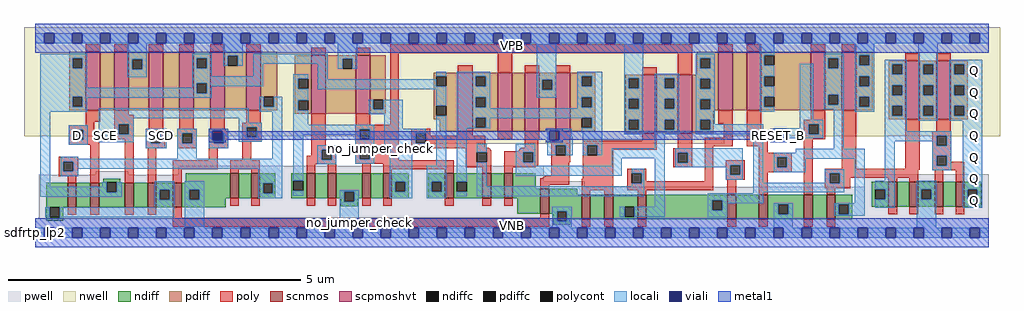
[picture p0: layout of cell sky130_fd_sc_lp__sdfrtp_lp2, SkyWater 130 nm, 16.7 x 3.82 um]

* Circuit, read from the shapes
.subckt sky130_fd_sc_lp__sdfrtp_lp2 CLK D RESET_B SCD SCE VGND VNB VPB VPWR Q
XM1 n1 n2 n3 VNB sky130_fd_pr__nfet_01v8 w=0.42 l=0.15
XM2 n4 D n1 VNB sky130_fd_pr__nfet_01v8 w=0.42 l=0.15
XM3 n5 SCE n4 VNB sky130_fd_pr__nfet_01v8 w=0.42 l=0.15
XM4 n3 SCD n5 VNB sky130_fd_pr__nfet_01v8 w=0.42 l=0.15
XM5 VGND RESET_B n3 VNB sky130_fd_pr__nfet_01v8 w=0.42 l=0.15
XM6 n6 SCE VGND VNB sky130_fd_pr__nfet_01v8 w=0.42 l=0.15
XM7 n2 SCE n6 VNB sky130_fd_pr__nfet_01v8 w=0.42 l=0.15
XM8 n7 CLK n8 VNB sky130_fd_pr__nfet_01v8 w=0.42 l=0.15
XM9 VGND CLK n7 VNB sky130_fd_pr__nfet_01v8 w=0.42 l=0.15
XM10 n9 n8 VGND VNB sky130_fd_pr__nfet_01v8 w=0.42 l=0.15
XM11 n10 n8 n9 VNB sky130_fd_pr__nfet_01v8 w=0.42 l=0.15
XM12 n11 n8 n4 VNB sky130_fd_pr__nfet_01v8 w=0.42 l=0.15
XM13 n12 n10 n11 VNB sky130_fd_pr__nfet_01v8 w=0.42 l=0.15
XM14 n13 n14 n12 VNB sky130_fd_pr__nfet_01v8 w=0.42 l=0.15
XM15 VGND RESET_B n13 VNB sky130_fd_pr__nfet_01v8 w=0.42 l=0.15
XM16 n15 n11 VGND VNB sky130_fd_pr__nfet_01v8 w=0.42 l=0.15
XM17 n14 n11 n15 VNB sky130_fd_pr__nfet_01v8 w=0.42 l=0.15
XM18 n16 n10 n14 VNB sky130_fd_pr__nfet_01v8 w=0.42 l=0.15
XM19 n17 n8 n16 VNB sky130_fd_pr__nfet_01v8 w=0.42 l=0.15
XM20 VGND n18 n17 VNB sky130_fd_pr__nfet_01v8 w=0.42 l=0.15
XM21 n19 RESET_B VGND VNB sky130_fd_pr__nfet_01v8 w=0.42 l=0.15
XM22 n18 n16 n19 VNB sky130_fd_pr__nfet_01v8 w=0.42 l=0.15
XM23 n20 n16 n21 VNB sky130_fd_pr__nfet_01v8 w=0.42 l=0.15
XM24 VGND n16 n20 VNB sky130_fd_pr__nfet_01v8 w=0.42 l=0.15
XM25 n22 n21 VGND VNB sky130_fd_pr__nfet_01v8 w=0.42 l=0.15
XM26 Q n21 n22 VNB sky130_fd_pr__nfet_01v8 w=0.42 l=0.15
XM27 n23 D n4 VPB sky130_fd_pr__pfet_01v8_hvt w=1 l=0.25
XM28 VPWR SCE n23 VPB sky130_fd_pr__pfet_01v8_hvt w=1 l=0.25
XM29 n24 SCD VPWR VPB sky130_fd_pr__pfet_01v8_hvt w=1 l=0.25
XM30 n4 n2 n24 VPB sky130_fd_pr__pfet_01v8_hvt w=1 l=0.25
XM31 VPWR RESET_B n4 VPB sky130_fd_pr__pfet_01v8_hvt w=1 l=0.25
XM32 n2 SCE VPWR VPB sky130_fd_pr__pfet_01v8_hvt w=1 l=0.25
XM33 VPWR CLK n8 VPB sky130_fd_pr__pfet_01v8_hvt w=1 l=0.25
XM34 n10 n8 VPWR VPB sky130_fd_pr__pfet_01v8_hvt w=1 l=0.25
XM35 n11 n10 n4 VPB sky130_fd_pr__pfet_01v8_hvt w=1 l=0.25
XM36 n25 n8 n11 VPB sky130_fd_pr__pfet_01v8_hvt w=1 l=0.25
XM37 VPWR n14 n25 VPB sky130_fd_pr__pfet_01v8_hvt w=1 l=0.25
XM38 n11 RESET_B VPWR VPB sky130_fd_pr__pfet_01v8_hvt w=1 l=0.25
XM39 n14 n11 VPWR VPB sky130_fd_pr__pfet_01v8_hvt w=1 l=0.25
XM40 n16 n8 n14 VPB sky130_fd_pr__pfet_01v8_hvt w=1 l=0.25
XM41 n26 n10 n16 VPB sky130_fd_pr__pfet_01v8_hvt w=1 l=0.25
XM42 VPWR n18 n26 VPB sky130_fd_pr__pfet_01v8_hvt w=1 l=0.25
XM43 n18 RESET_B VPWR VPB sky130_fd_pr__pfet_01v8_hvt w=1 l=0.25
XM44 VPWR n16 n18 VPB sky130_fd_pr__pfet_01v8_hvt w=1 l=0.25
XM45 VPWR n16 n21 VPB sky130_fd_pr__pfet_01v8_hvt w=1 l=0.25
XM46 Q n21 VPWR VPB sky130_fd_pr__pfet_01v8_hvt w=1 l=0.25
.ends

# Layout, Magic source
magic
tech sky130A
magscale 1 2
<< nwell >>
rect -38 331 3302 704
rect 1341 305 2358 331
<< pwell >>
rect 208 198 318 211
rect 490 198 1740 229
rect 12 176 1740 198
rect 12 157 1881 176
rect 2837 157 3263 200
rect 12 49 3263 157
rect 0 0 3264 49
<< scnmos >>
rect 111 88 141 172
rect 189 88 219 172
rect 307 88 337 172
rect 385 88 415 172
rect 471 88 501 172
rect 667 119 697 203
rect 739 119 769 203
rect 929 119 959 203
rect 1001 119 1031 203
rect 1119 119 1149 203
rect 1191 119 1221 203
rect 1402 119 1432 203
rect 1531 119 1561 203
rect 1605 119 1635 203
rect 1729 66 1759 150
rect 1870 47 1900 131
rect 1948 47 1978 131
rect 2062 47 2092 131
rect 2369 47 2399 131
rect 2477 47 2507 131
rect 2631 47 2661 131
rect 2709 47 2739 131
rect 2920 90 2950 174
rect 2992 90 3022 174
rect 3078 90 3108 174
rect 3150 90 3180 174
<< scpmoshvt >>
rect 173 419 223 619
rect 271 419 321 619
rect 389 419 439 619
rect 493 419 543 619
rect 599 419 649 619
rect 722 419 772 619
rect 945 408 995 608
rect 1097 408 1147 608
rect 1447 347 1497 547
rect 1583 347 1633 547
rect 1675 347 1725 547
rect 1781 347 1831 547
rect 2077 341 2127 541
rect 2199 341 2249 541
rect 2337 419 2387 619
rect 2435 419 2485 619
rect 2654 419 2704 619
rect 2760 419 2810 619
rect 2978 388 3028 588
rect 3084 388 3134 588
<< ndiff >>
rect 234 173 292 185
rect 234 172 246 173
rect 38 88 111 172
rect 141 88 189 172
rect 219 139 246 172
rect 280 172 292 173
rect 516 172 667 203
rect 280 139 307 172
rect 219 88 307 139
rect 337 88 385 172
rect 415 147 471 172
rect 415 113 426 147
rect 460 113 471 147
rect 415 88 471 113
rect 501 147 667 172
rect 501 113 528 147
rect 562 119 667 147
rect 697 119 739 203
rect 769 169 822 203
rect 769 135 780 169
rect 814 135 822 169
rect 769 119 822 135
rect 876 178 929 203
rect 876 144 884 178
rect 918 144 929 178
rect 876 119 929 144
rect 959 119 1001 203
rect 1031 141 1119 203
rect 1031 119 1058 141
rect 562 113 652 119
rect 501 88 652 113
rect 1046 107 1058 119
rect 1092 119 1119 141
rect 1149 119 1191 203
rect 1221 175 1278 203
rect 1221 141 1232 175
rect 1266 141 1278 175
rect 1221 119 1278 141
rect 1345 175 1402 203
rect 1345 141 1357 175
rect 1391 141 1402 175
rect 1345 119 1402 141
rect 1432 175 1531 203
rect 1432 141 1443 175
rect 1477 141 1531 175
rect 1432 119 1531 141
rect 1561 119 1605 203
rect 1635 150 1714 203
rect 1635 119 1729 150
rect 1092 107 1104 119
rect 1046 91 1104 107
rect 38 87 96 88
rect 38 53 50 87
rect 84 53 96 87
rect 38 41 96 53
rect 1650 66 1729 119
rect 1759 131 1855 150
rect 2863 149 2920 174
rect 1759 73 1870 131
rect 1759 66 1786 73
rect 1774 39 1786 66
rect 1820 47 1870 73
rect 1900 47 1948 131
rect 1978 89 2062 131
rect 1978 55 2017 89
rect 2051 55 2062 89
rect 1978 47 2062 55
rect 2092 111 2369 131
rect 2092 77 2318 111
rect 2352 77 2369 111
rect 2092 47 2369 77
rect 2399 47 2477 131
rect 2507 97 2631 131
rect 2507 63 2543 97
rect 2577 63 2631 97
rect 2507 47 2631 63
rect 2661 47 2709 131
rect 2739 97 2796 131
rect 2739 63 2750 97
rect 2784 63 2796 97
rect 2863 115 2875 149
rect 2909 115 2920 149
rect 2863 90 2920 115
rect 2950 90 2992 174
rect 3022 149 3078 174
rect 3022 115 3033 149
rect 3067 115 3078 149
rect 3022 90 3078 115
rect 3108 90 3150 174
rect 3180 149 3237 174
rect 3180 115 3191 149
rect 3225 115 3237 149
rect 3180 90 3237 115
rect 2739 47 2796 63
rect 1820 39 1832 47
rect 1774 27 1832 39
<< pdiff >>
rect 116 597 173 619
rect 116 563 128 597
rect 162 563 173 597
rect 116 465 173 563
rect 116 431 128 465
rect 162 431 173 465
rect 116 419 173 431
rect 223 419 271 619
rect 321 594 389 619
rect 321 560 332 594
rect 366 560 389 594
rect 321 419 389 560
rect 439 419 493 619
rect 543 597 599 619
rect 543 563 554 597
rect 588 563 599 597
rect 543 512 599 563
rect 543 478 554 512
rect 588 478 599 512
rect 543 419 599 478
rect 649 606 722 619
rect 649 572 660 606
rect 694 572 722 606
rect 649 419 722 572
rect 772 465 829 619
rect 772 431 783 465
rect 817 431 829 465
rect 772 419 829 431
rect 888 527 945 608
rect 888 493 900 527
rect 934 493 945 527
rect 888 454 945 493
rect 888 420 900 454
rect 934 420 945 454
rect 888 408 945 420
rect 995 596 1097 608
rect 995 562 1052 596
rect 1086 562 1097 596
rect 995 408 1097 562
rect 1147 456 1200 608
rect 1147 422 1158 456
rect 1192 422 1200 456
rect 1147 408 1200 422
rect 1365 535 1447 547
rect 1365 501 1373 535
rect 1407 501 1447 535
rect 1365 434 1447 501
rect 1365 400 1373 434
rect 1407 400 1447 434
rect 1365 388 1447 400
rect 1385 347 1447 388
rect 1497 535 1583 547
rect 1497 501 1508 535
rect 1542 501 1583 535
rect 1497 464 1583 501
rect 1497 430 1508 464
rect 1542 430 1583 464
rect 1497 393 1583 430
rect 1497 359 1508 393
rect 1542 359 1583 393
rect 1497 347 1583 359
rect 1633 347 1675 547
rect 1725 523 1781 547
rect 1725 489 1736 523
rect 1770 489 1781 523
rect 1725 347 1781 489
rect 1831 535 1917 547
rect 2264 597 2337 619
rect 2264 563 2276 597
rect 2310 563 2337 597
rect 2264 541 2337 563
rect 1831 501 1871 535
rect 1905 501 1917 535
rect 1831 464 1917 501
rect 1831 430 1871 464
rect 1905 430 1917 464
rect 1831 393 1917 430
rect 1831 359 1871 393
rect 1905 359 1917 393
rect 1831 347 1917 359
rect 2020 529 2077 541
rect 2020 495 2032 529
rect 2066 495 2077 529
rect 2020 458 2077 495
rect 2020 424 2032 458
rect 2066 424 2077 458
rect 2020 387 2077 424
rect 2020 353 2032 387
rect 2066 353 2077 387
rect 2020 341 2077 353
rect 2127 529 2199 541
rect 2127 495 2154 529
rect 2188 495 2199 529
rect 2127 458 2199 495
rect 2127 424 2154 458
rect 2188 424 2199 458
rect 2127 387 2199 424
rect 2127 353 2154 387
rect 2188 353 2199 387
rect 2127 341 2199 353
rect 2249 527 2337 541
rect 2249 493 2276 527
rect 2310 493 2337 527
rect 2249 457 2337 493
rect 2249 423 2276 457
rect 2310 423 2337 457
rect 2249 419 2337 423
rect 2387 419 2435 619
rect 2485 607 2654 619
rect 2485 573 2496 607
rect 2530 573 2654 607
rect 2485 536 2654 573
rect 2485 502 2496 536
rect 2530 502 2654 536
rect 2485 465 2654 502
rect 2485 431 2496 465
rect 2530 431 2654 465
rect 2485 419 2654 431
rect 2704 597 2760 619
rect 2704 563 2715 597
rect 2749 563 2760 597
rect 2704 473 2760 563
rect 2704 439 2715 473
rect 2749 439 2760 473
rect 2704 419 2760 439
rect 2810 607 2867 619
rect 2810 573 2821 607
rect 2855 573 2867 607
rect 2810 536 2867 573
rect 2810 502 2821 536
rect 2855 502 2867 536
rect 2810 465 2867 502
rect 2810 431 2821 465
rect 2855 431 2867 465
rect 2810 419 2867 431
rect 2921 576 2978 588
rect 2921 542 2933 576
rect 2967 542 2978 576
rect 2921 505 2978 542
rect 2921 471 2933 505
rect 2967 471 2978 505
rect 2921 434 2978 471
rect 2249 387 2322 419
rect 2249 353 2276 387
rect 2310 353 2322 387
rect 2249 341 2322 353
rect 2921 400 2933 434
rect 2967 400 2978 434
rect 2921 388 2978 400
rect 3028 576 3084 588
rect 3028 542 3039 576
rect 3073 542 3084 576
rect 3028 505 3084 542
rect 3028 471 3039 505
rect 3073 471 3084 505
rect 3028 434 3084 471
rect 3028 400 3039 434
rect 3073 400 3084 434
rect 3028 388 3084 400
rect 3134 576 3191 588
rect 3134 542 3145 576
rect 3179 542 3191 576
rect 3134 505 3191 542
rect 3134 471 3145 505
rect 3179 471 3191 505
rect 3134 434 3191 471
rect 3134 400 3145 434
rect 3179 400 3191 434
rect 3134 388 3191 400
<< ndiffc >>
rect 246 139 280 173
rect 426 113 460 147
rect 528 113 562 147
rect 780 135 814 169
rect 884 144 918 178
rect 1058 107 1092 141
rect 1232 141 1266 175
rect 1357 141 1391 175
rect 1443 141 1477 175
rect 50 53 84 87
rect 1786 39 1820 73
rect 2017 55 2051 89
rect 2318 77 2352 111
rect 2543 63 2577 97
rect 2750 63 2784 97
rect 2875 115 2909 149
rect 3033 115 3067 149
rect 3191 115 3225 149
<< pdiffc >>
rect 128 563 162 597
rect 128 431 162 465
rect 332 560 366 594
rect 554 563 588 597
rect 554 478 588 512
rect 660 572 694 606
rect 783 431 817 465
rect 900 493 934 527
rect 900 420 934 454
rect 1052 562 1086 596
rect 1158 422 1192 456
rect 1373 501 1407 535
rect 1373 400 1407 434
rect 1508 501 1542 535
rect 1508 430 1542 464
rect 1508 359 1542 393
rect 1736 489 1770 523
rect 2276 563 2310 597
rect 1871 501 1905 535
rect 1871 430 1905 464
rect 1871 359 1905 393
rect 2032 495 2066 529
rect 2032 424 2066 458
rect 2032 353 2066 387
rect 2154 495 2188 529
rect 2154 424 2188 458
rect 2154 353 2188 387
rect 2276 493 2310 527
rect 2276 423 2310 457
rect 2496 573 2530 607
rect 2496 502 2530 536
rect 2496 431 2530 465
rect 2715 563 2749 597
rect 2715 439 2749 473
rect 2821 573 2855 607
rect 2821 502 2855 536
rect 2821 431 2855 465
rect 2933 542 2967 576
rect 2933 471 2967 505
rect 2276 353 2310 387
rect 2933 400 2967 434
rect 3039 542 3073 576
rect 3039 471 3073 505
rect 3039 400 3073 434
rect 3145 542 3179 576
rect 3145 471 3179 505
rect 3145 400 3179 434
<< poly >>
rect 173 619 223 645
rect 271 619 321 645
rect 389 619 439 645
rect 493 619 543 645
rect 599 619 649 645
rect 722 619 772 645
rect 945 608 995 634
rect 1097 608 1147 634
rect 1215 615 2249 645
rect 2337 619 2387 645
rect 2435 619 2485 645
rect 2654 619 2704 645
rect 2760 619 2810 645
rect 173 380 223 419
rect 271 404 321 419
rect 173 368 203 380
rect 115 352 203 368
rect 115 318 131 352
rect 165 332 203 352
rect 271 371 337 404
rect 271 337 287 371
rect 321 337 337 371
rect 389 356 439 419
rect 493 356 543 419
rect 599 356 649 419
rect 722 377 772 419
rect 709 361 775 377
rect 165 318 219 332
rect 271 321 337 337
rect 115 302 219 318
rect 81 244 147 260
rect 81 210 97 244
rect 131 210 147 244
rect 81 194 147 210
rect 111 172 141 194
rect 189 172 219 302
rect 307 172 337 321
rect 379 340 445 356
rect 379 306 395 340
rect 429 306 445 340
rect 379 290 445 306
rect 487 340 553 356
rect 487 306 503 340
rect 537 306 553 340
rect 487 290 553 306
rect 595 340 661 356
rect 595 306 611 340
rect 645 306 661 340
rect 595 290 661 306
rect 709 327 725 361
rect 759 327 775 361
rect 709 311 775 327
rect 385 172 415 290
rect 595 248 625 290
rect 709 248 739 311
rect 945 300 995 408
rect 1097 370 1147 408
rect 1215 370 1245 615
rect 1447 547 1497 573
rect 1583 547 1633 615
rect 1675 547 1725 573
rect 1781 547 1831 573
rect 1095 354 1245 370
rect 1095 320 1111 354
rect 1145 320 1245 354
rect 945 284 1031 300
rect 945 264 981 284
rect 929 250 981 264
rect 1015 250 1031 284
rect 471 218 625 248
rect 667 218 769 248
rect 471 172 501 218
rect 667 203 697 218
rect 739 203 769 218
rect 929 234 1031 250
rect 1095 286 1245 320
rect 1287 340 1353 356
rect 2077 541 2127 567
rect 2199 541 2249 615
rect 1287 306 1303 340
rect 1337 332 1353 340
rect 1447 332 1497 347
rect 1337 306 1541 332
rect 1583 321 1633 347
rect 1675 321 1725 347
rect 1287 291 1541 306
rect 1675 291 1721 321
rect 1781 315 1831 347
rect 2978 588 3028 614
rect 3084 588 3134 614
rect 2337 374 2387 419
rect 2077 315 2127 341
rect 1770 311 1832 315
rect 1287 290 1553 291
rect 1095 252 1111 286
rect 1145 252 1245 286
rect 1095 248 1245 252
rect 1474 289 1553 290
rect 1663 289 1721 291
rect 1474 288 1555 289
rect 1661 288 1721 289
rect 1474 287 1556 288
rect 1660 287 1721 288
rect 1474 286 1557 287
rect 1659 286 1721 287
rect 1474 285 1558 286
rect 1658 285 1721 286
rect 1474 283 1559 285
rect 1657 283 1721 285
rect 1474 275 1561 283
rect 1655 279 1721 283
rect 1095 236 1432 248
rect 929 203 959 234
rect 1001 203 1031 234
rect 1119 203 1149 236
rect 1191 218 1432 236
rect 1474 241 1511 275
rect 1545 241 1561 275
rect 1474 225 1561 241
rect 1191 203 1221 218
rect 1402 203 1432 218
rect 1531 203 1561 225
rect 1605 275 1721 279
rect 1605 241 1671 275
rect 1705 241 1721 275
rect 1605 229 1721 241
rect 1766 299 1832 311
rect 1766 265 1782 299
rect 1816 265 1832 299
rect 1766 241 1832 265
rect 1874 299 2127 315
rect 1874 265 1890 299
rect 1924 285 2127 299
rect 2199 290 2249 341
rect 2357 326 2387 374
rect 1924 265 1978 285
rect 1605 227 1716 229
rect 1605 226 1713 227
rect 1605 225 1711 226
rect 1605 203 1635 225
rect 667 93 697 119
rect 739 93 769 119
rect 929 93 959 119
rect 1001 93 1031 119
rect 1766 195 1828 241
rect 1748 193 1828 195
rect 1744 191 1828 193
rect 1741 189 1828 191
rect 1737 187 1828 189
rect 1729 165 1828 187
rect 1874 185 1978 265
rect 2183 274 2249 290
rect 2183 240 2199 274
rect 2233 240 2249 274
rect 2183 224 2249 240
rect 2291 296 2387 326
rect 2435 326 2485 419
rect 2654 387 2704 419
rect 2631 371 2704 387
rect 2631 337 2647 371
rect 2681 337 2704 371
rect 2435 296 2507 326
rect 1729 150 1759 165
rect 1119 93 1149 119
rect 1191 93 1221 119
rect 1402 93 1432 119
rect 1531 93 1561 119
rect 1605 93 1635 119
rect 111 62 141 88
rect 189 62 219 88
rect 307 62 337 88
rect 385 62 415 88
rect 471 51 501 88
rect 1870 146 1978 185
rect 2026 203 2092 219
rect 2026 169 2042 203
rect 2076 176 2092 203
rect 2291 176 2321 296
rect 2477 274 2507 296
rect 2631 321 2704 337
rect 2477 258 2589 274
rect 2363 232 2429 248
rect 2363 198 2379 232
rect 2413 198 2429 232
rect 2363 182 2429 198
rect 2477 224 2539 258
rect 2573 224 2589 258
rect 2477 208 2589 224
rect 2076 169 2321 176
rect 2026 146 2321 169
rect 1870 131 1900 146
rect 1948 131 1978 146
rect 2062 131 2092 146
rect 2369 131 2399 182
rect 2477 131 2507 208
rect 2631 131 2661 321
rect 2760 219 2810 419
rect 2978 219 3028 388
rect 3084 348 3134 388
rect 2703 216 3028 219
rect 3070 332 3136 348
rect 3070 298 3086 332
rect 3120 298 3136 332
rect 3070 264 3136 298
rect 3070 230 3086 264
rect 3120 244 3136 264
rect 3120 230 3180 244
rect 2703 203 3022 216
rect 3070 214 3180 230
rect 2703 169 2719 203
rect 2753 189 3022 203
rect 2753 169 2790 189
rect 2920 174 2950 189
rect 2992 174 3022 189
rect 3078 174 3108 214
rect 3150 174 3180 214
rect 2703 153 2790 169
rect 2709 131 2739 153
rect 1729 51 1759 66
rect 471 21 1759 51
rect 2920 64 2950 90
rect 2992 64 3022 90
rect 3078 64 3108 90
rect 3150 64 3180 90
rect 1870 21 1900 47
rect 1948 21 1978 47
rect 2062 21 2092 47
rect 2369 21 2399 47
rect 2477 21 2507 47
rect 2631 21 2661 47
rect 2709 21 2739 47
<< polycont >>
rect 131 318 165 352
rect 287 337 321 371
rect 97 210 131 244
rect 395 306 429 340
rect 503 306 537 340
rect 611 306 645 340
rect 725 327 759 361
rect 1111 320 1145 354
rect 981 250 1015 284
rect 1303 306 1337 340
rect 1111 252 1145 286
rect 1511 241 1545 275
rect 1671 241 1705 275
rect 1782 265 1816 299
rect 1890 265 1924 299
rect 2199 240 2233 274
rect 2647 337 2681 371
rect 2042 169 2076 203
rect 2379 198 2413 232
rect 2539 224 2573 258
rect 3086 298 3120 332
rect 3086 230 3120 264
rect 2719 169 2753 203
<< locali >>
rect 0 649 31 683
rect 65 649 127 683
rect 161 649 223 683
rect 257 649 319 683
rect 353 649 415 683
rect 449 649 511 683
rect 545 649 607 683
rect 641 649 703 683
rect 737 649 799 683
rect 833 649 895 683
rect 929 649 991 683
rect 1025 649 1087 683
rect 1121 649 1183 683
rect 1217 649 1279 683
rect 1313 649 1375 683
rect 1409 649 1471 683
rect 1505 649 1567 683
rect 1601 649 1663 683
rect 1697 649 1759 683
rect 1793 649 1855 683
rect 1889 649 1951 683
rect 1985 649 2047 683
rect 2081 649 2143 683
rect 2177 649 2239 683
rect 2273 649 2335 683
rect 2369 649 2431 683
rect 2465 649 2527 683
rect 2561 649 2623 683
rect 2657 649 2719 683
rect 2753 649 2815 683
rect 2849 649 2911 683
rect 2945 649 3007 683
rect 3041 649 3103 683
rect 3137 649 3199 683
rect 3233 649 3264 683
rect 18 597 178 613
rect 18 563 128 597
rect 162 563 178 597
rect 18 496 178 563
rect 316 594 382 649
rect 316 560 332 594
rect 366 560 382 594
rect 316 532 382 560
rect 538 597 604 613
rect 538 563 554 597
rect 588 563 604 597
rect 644 606 710 649
rect 644 572 660 606
rect 694 572 710 606
rect 644 571 710 572
rect 746 579 1002 613
rect 538 535 604 563
rect 746 535 780 579
rect 538 512 780 535
rect 538 496 554 512
rect 18 478 554 496
rect 588 501 780 512
rect 884 527 934 543
rect 588 478 604 501
rect 18 465 604 478
rect 884 493 900 527
rect 18 431 128 465
rect 162 462 604 465
rect 162 431 178 462
rect 18 415 178 431
rect 767 431 783 465
rect 817 431 845 465
rect 18 158 52 415
rect 217 392 731 426
rect 767 415 845 431
rect 217 371 337 392
rect 115 352 181 368
rect 115 318 131 352
rect 165 318 181 352
rect 115 302 181 318
rect 217 337 287 371
rect 321 337 337 371
rect 697 377 731 392
rect 697 361 775 377
rect 217 310 337 337
rect 379 340 451 356
rect 379 306 395 340
rect 429 306 451 340
rect 379 290 451 306
rect 487 340 553 356
rect 487 306 503 340
rect 537 306 553 340
rect 88 254 147 260
rect 487 254 553 306
rect 595 350 661 356
rect 595 316 607 350
rect 641 340 661 350
rect 595 306 611 316
rect 645 306 661 340
rect 697 327 725 361
rect 759 327 775 361
rect 697 311 775 327
rect 595 290 661 306
rect 811 254 845 415
rect 88 244 845 254
rect 88 210 97 244
rect 131 220 845 244
rect 131 210 147 220
rect 88 194 147 210
rect 230 158 246 173
rect 18 139 246 158
rect 280 139 296 173
rect 18 124 296 139
rect 230 123 296 124
rect 410 147 476 176
rect 410 113 426 147
rect 460 113 476 147
rect 34 87 100 88
rect 410 87 476 113
rect 34 53 50 87
rect 84 53 476 87
rect 512 147 578 176
rect 512 113 528 147
rect 562 113 578 147
rect 764 169 845 220
rect 764 135 780 169
rect 814 135 845 169
rect 764 119 845 135
rect 884 454 934 493
rect 968 526 1002 579
rect 1036 596 1102 649
rect 1036 562 1052 596
rect 1086 562 1102 596
rect 1373 535 1407 551
rect 968 501 1373 526
rect 968 492 1407 501
rect 884 420 900 454
rect 884 370 934 420
rect 1142 422 1158 456
rect 1192 422 1258 456
rect 1142 406 1258 422
rect 884 354 1161 370
rect 884 336 1111 354
rect 884 178 918 336
rect 1095 320 1111 336
rect 1145 320 1161 354
rect 965 284 1031 300
rect 965 250 981 284
rect 1015 250 1031 284
rect 965 234 1031 250
rect 1095 286 1161 320
rect 1195 356 1258 406
rect 1373 434 1407 492
rect 1195 340 1337 356
rect 1195 306 1303 340
rect 1195 290 1337 306
rect 1095 252 1111 286
rect 1145 252 1161 286
rect 1095 236 1161 252
rect 1214 175 1291 290
rect 1373 229 1407 400
rect 884 127 918 144
rect 1042 141 1108 145
rect 512 17 578 113
rect 1042 107 1058 141
rect 1092 107 1108 141
rect 1214 141 1232 175
rect 1266 141 1291 175
rect 1214 119 1291 141
rect 1341 175 1407 229
rect 1341 141 1357 175
rect 1391 141 1407 175
rect 1341 119 1407 141
rect 1443 535 1558 551
rect 1443 501 1508 535
rect 1542 501 1558 535
rect 1443 464 1558 501
rect 1443 430 1508 464
rect 1542 430 1558 464
rect 1717 523 1783 649
rect 1717 489 1736 523
rect 1770 489 1783 523
rect 1717 462 1783 489
rect 1855 535 1940 551
rect 1855 501 1871 535
rect 1905 501 1940 535
rect 1855 464 1940 501
rect 1443 426 1558 430
rect 1855 430 1871 464
rect 1905 430 1940 464
rect 1855 426 1940 430
rect 1443 393 1940 426
rect 1443 359 1508 393
rect 1542 392 1871 393
rect 1542 359 1558 392
rect 1443 358 1558 359
rect 1905 359 1940 393
rect 1443 175 1477 358
rect 1753 350 1837 356
rect 1753 316 1759 350
rect 1793 329 1837 350
rect 1871 343 1940 359
rect 1793 316 1840 329
rect 1443 125 1477 141
rect 1511 275 1545 305
rect 1511 159 1545 241
rect 1645 275 1711 305
rect 1645 241 1671 275
rect 1705 241 1711 275
rect 1753 299 1840 316
rect 1753 265 1782 299
rect 1816 265 1840 299
rect 1874 299 1940 343
rect 2016 529 2082 649
rect 2260 597 2326 613
rect 2260 563 2276 597
rect 2310 563 2326 597
rect 2016 495 2032 529
rect 2066 495 2082 529
rect 2016 458 2082 495
rect 2016 424 2032 458
rect 2066 424 2082 458
rect 2016 387 2082 424
rect 2016 353 2032 387
rect 2066 353 2082 387
rect 2016 337 2082 353
rect 2121 529 2204 545
rect 2121 495 2154 529
rect 2188 495 2204 529
rect 2121 458 2204 495
rect 2121 424 2154 458
rect 2188 424 2204 458
rect 2121 387 2204 424
rect 2121 353 2154 387
rect 2188 353 2204 387
rect 2121 337 2204 353
rect 2260 527 2326 563
rect 2260 493 2276 527
rect 2310 493 2326 527
rect 2260 457 2326 493
rect 2260 423 2276 457
rect 2310 423 2326 457
rect 2260 387 2326 423
rect 2480 607 2530 649
rect 2480 573 2496 607
rect 2699 597 2767 613
rect 2480 536 2530 573
rect 2480 502 2496 536
rect 2480 465 2530 502
rect 2480 431 2496 465
rect 2480 415 2530 431
rect 2260 353 2276 387
rect 2310 371 2326 387
rect 2617 387 2663 578
rect 2699 563 2715 597
rect 2749 563 2767 597
rect 2699 473 2767 563
rect 2699 439 2715 473
rect 2749 439 2767 473
rect 2699 423 2767 439
rect 2617 371 2697 387
rect 2310 353 2491 371
rect 2617 357 2647 371
rect 2260 337 2491 353
rect 1874 265 1890 299
rect 1924 265 1940 299
rect 2121 289 2155 337
rect 1645 229 1711 241
rect 1974 255 2155 289
rect 1974 229 2008 255
rect 1645 195 2008 229
rect 2042 203 2085 219
rect 2076 169 2085 203
rect 2042 159 2085 169
rect 1511 125 2085 159
rect 1042 17 1108 107
rect 2121 89 2155 255
rect 2191 274 2421 290
rect 2191 240 2199 274
rect 2233 240 2421 274
rect 2191 232 2421 240
rect 2191 224 2379 232
rect 2363 198 2379 224
rect 2413 198 2421 232
rect 2363 182 2421 198
rect 2457 172 2491 337
rect 2527 350 2647 357
rect 2561 337 2647 350
rect 2681 337 2697 371
rect 2561 323 2697 337
rect 2561 316 2567 323
rect 2527 310 2567 316
rect 2733 287 2767 423
rect 2805 607 2871 649
rect 2805 573 2821 607
rect 2855 573 2871 607
rect 2805 536 2871 573
rect 2805 502 2821 536
rect 2855 502 2871 536
rect 2805 465 2871 502
rect 2805 431 2821 465
rect 2855 431 2871 465
rect 2805 415 2871 431
rect 2907 576 2983 592
rect 2907 542 2933 576
rect 2967 542 2983 576
rect 2907 505 2983 542
rect 2907 471 2933 505
rect 2967 471 2983 505
rect 2907 434 2983 471
rect 2907 400 2933 434
rect 2967 400 2983 434
rect 2907 348 2983 400
rect 3023 576 3089 649
rect 3023 542 3039 576
rect 3073 542 3089 576
rect 3023 505 3089 542
rect 3023 471 3039 505
rect 3073 471 3089 505
rect 3023 434 3089 471
rect 3023 400 3039 434
rect 3073 400 3089 434
rect 3023 384 3089 400
rect 3129 576 3241 592
rect 3129 542 3145 576
rect 3179 542 3241 576
rect 3129 505 3241 542
rect 3129 471 3145 505
rect 3179 471 3241 505
rect 3129 434 3241 471
rect 3129 400 3145 434
rect 3179 400 3241 434
rect 3129 384 3241 400
rect 2907 332 3136 348
rect 2907 314 3086 332
rect 2603 274 2839 287
rect 2527 258 2839 274
rect 2527 224 2539 258
rect 2573 253 2839 258
rect 2573 224 2637 253
rect 2527 208 2637 224
rect 2703 203 2769 217
rect 2703 172 2719 203
rect 2457 169 2719 172
rect 2753 169 2769 203
rect 2457 138 2769 169
rect 2457 135 2491 138
rect 1770 73 1836 89
rect 1770 39 1786 73
rect 1820 39 1836 73
rect 2001 55 2017 89
rect 2051 55 2155 89
rect 2302 111 2491 135
rect 2302 77 2318 111
rect 2352 101 2491 111
rect 2805 102 2839 253
rect 2907 178 2941 314
rect 3070 298 3086 314
rect 3120 298 3136 332
rect 3070 264 3136 298
rect 3070 230 3086 264
rect 3120 230 3136 264
rect 3070 214 3136 230
rect 2352 77 2368 101
rect 2302 53 2368 77
rect 2527 97 2593 102
rect 2527 63 2543 97
rect 2577 63 2593 97
rect 1770 17 1836 39
rect 2527 17 2593 63
rect 2734 97 2839 102
rect 2734 63 2750 97
rect 2784 63 2839 97
rect 2875 149 2941 178
rect 2909 115 2941 149
rect 2875 86 2941 115
rect 3017 149 3083 178
rect 3017 115 3033 149
rect 3067 115 3083 149
rect 2734 59 2839 63
rect 3017 17 3083 115
rect 3175 149 3241 384
rect 3175 115 3191 149
rect 3225 115 3241 149
rect 3175 86 3241 115
rect 0 -17 31 17
rect 65 -17 127 17
rect 161 -17 223 17
rect 257 -17 319 17
rect 353 -17 415 17
rect 449 -17 511 17
rect 545 -17 607 17
rect 641 -17 703 17
rect 737 -17 799 17
rect 833 -17 895 17
rect 929 -17 991 17
rect 1025 -17 1087 17
rect 1121 -17 1183 17
rect 1217 -17 1279 17
rect 1313 -17 1375 17
rect 1409 -17 1471 17
rect 1505 -17 1567 17
rect 1601 -17 1663 17
rect 1697 -17 1759 17
rect 1793 -17 1855 17
rect 1889 -17 1951 17
rect 1985 -17 2047 17
rect 2081 -17 2143 17
rect 2177 -17 2239 17
rect 2273 -17 2335 17
rect 2369 -17 2431 17
rect 2465 -17 2527 17
rect 2561 -17 2623 17
rect 2657 -17 2719 17
rect 2753 -17 2815 17
rect 2849 -17 2911 17
rect 2945 -17 3007 17
rect 3041 -17 3103 17
rect 3137 -17 3199 17
rect 3233 -17 3264 17
<< viali >>
rect 31 649 65 683
rect 127 649 161 683
rect 223 649 257 683
rect 319 649 353 683
rect 415 649 449 683
rect 511 649 545 683
rect 607 649 641 683
rect 703 649 737 683
rect 799 649 833 683
rect 895 649 929 683
rect 991 649 1025 683
rect 1087 649 1121 683
rect 1183 649 1217 683
rect 1279 649 1313 683
rect 1375 649 1409 683
rect 1471 649 1505 683
rect 1567 649 1601 683
rect 1663 649 1697 683
rect 1759 649 1793 683
rect 1855 649 1889 683
rect 1951 649 1985 683
rect 2047 649 2081 683
rect 2143 649 2177 683
rect 2239 649 2273 683
rect 2335 649 2369 683
rect 2431 649 2465 683
rect 2527 649 2561 683
rect 2623 649 2657 683
rect 2719 649 2753 683
rect 2815 649 2849 683
rect 2911 649 2945 683
rect 3007 649 3041 683
rect 3103 649 3137 683
rect 3199 649 3233 683
rect 607 340 641 350
rect 607 316 611 340
rect 611 316 641 340
rect 1759 316 1793 350
rect 2527 316 2561 350
rect 31 -17 65 17
rect 127 -17 161 17
rect 223 -17 257 17
rect 319 -17 353 17
rect 415 -17 449 17
rect 511 -17 545 17
rect 607 -17 641 17
rect 703 -17 737 17
rect 799 -17 833 17
rect 895 -17 929 17
rect 991 -17 1025 17
rect 1087 -17 1121 17
rect 1183 -17 1217 17
rect 1279 -17 1313 17
rect 1375 -17 1409 17
rect 1471 -17 1505 17
rect 1567 -17 1601 17
rect 1663 -17 1697 17
rect 1759 -17 1793 17
rect 1855 -17 1889 17
rect 1951 -17 1985 17
rect 2047 -17 2081 17
rect 2143 -17 2177 17
rect 2239 -17 2273 17
rect 2335 -17 2369 17
rect 2431 -17 2465 17
rect 2527 -17 2561 17
rect 2623 -17 2657 17
rect 2719 -17 2753 17
rect 2815 -17 2849 17
rect 2911 -17 2945 17
rect 3007 -17 3041 17
rect 3103 -17 3137 17
rect 3199 -17 3233 17
<< metal1 >>
rect 0 683 3264 715
rect 0 649 31 683
rect 65 649 127 683
rect 161 649 223 683
rect 257 649 319 683
rect 353 649 415 683
rect 449 649 511 683
rect 545 649 607 683
rect 641 649 703 683
rect 737 649 799 683
rect 833 649 895 683
rect 929 649 991 683
rect 1025 649 1087 683
rect 1121 649 1183 683
rect 1217 649 1279 683
rect 1313 649 1375 683
rect 1409 649 1471 683
rect 1505 649 1567 683
rect 1601 649 1663 683
rect 1697 649 1759 683
rect 1793 649 1855 683
rect 1889 649 1951 683
rect 1985 649 2047 683
rect 2081 649 2143 683
rect 2177 649 2239 683
rect 2273 649 2335 683
rect 2369 649 2431 683
rect 2465 649 2527 683
rect 2561 649 2623 683
rect 2657 649 2719 683
rect 2753 649 2815 683
rect 2849 649 2911 683
rect 2945 649 3007 683
rect 3041 649 3103 683
rect 3137 649 3199 683
rect 3233 649 3264 683
rect 0 617 3264 649
rect 595 350 653 356
rect 595 316 607 350
rect 641 347 653 350
rect 1747 350 1805 356
rect 1747 347 1759 350
rect 641 319 1759 347
rect 641 316 653 319
rect 595 310 653 316
rect 1747 316 1759 319
rect 1793 347 1805 350
rect 2515 350 2573 356
rect 2515 347 2527 350
rect 1793 319 2527 347
rect 1793 316 1805 319
rect 1747 310 1805 316
rect 2515 316 2527 319
rect 2561 316 2573 350
rect 2515 310 2573 316
rect 0 17 3264 49
rect 0 -17 31 17
rect 65 -17 127 17
rect 161 -17 223 17
rect 257 -17 319 17
rect 353 -17 415 17
rect 449 -17 511 17
rect 545 -17 607 17
rect 641 -17 703 17
rect 737 -17 799 17
rect 833 -17 895 17
rect 929 -17 991 17
rect 1025 -17 1087 17
rect 1121 -17 1183 17
rect 1217 -17 1279 17
rect 1313 -17 1375 17
rect 1409 -17 1471 17
rect 1505 -17 1567 17
rect 1601 -17 1663 17
rect 1697 -17 1759 17
rect 1793 -17 1855 17
rect 1889 -17 1951 17
rect 1985 -17 2047 17
rect 2081 -17 2143 17
rect 2177 -17 2239 17
rect 2273 -17 2335 17
rect 2369 -17 2431 17
rect 2465 -17 2527 17
rect 2561 -17 2623 17
rect 2657 -17 2719 17
rect 2753 -17 2815 17
rect 2849 -17 2911 17
rect 2945 -17 3007 17
rect 3041 -17 3103 17
rect 3137 -17 3199 17
rect 3233 -17 3264 17
rect 0 -49 3264 -17
<< labels >>
flabel pwell s 0 0 3264 49 0 FreeSans 200 0 0 0 VNB
port 7 nsew ground bidirectional
flabel nwell s 0 617 3264 666 0 FreeSans 200 0 0 0 VPB
port 8 nsew power bidirectional
rlabel comment s 0 0 0 0 4 sdfrtp_lp2
flabel comment s 1111 36 1111 36 0 FreeSans 300 0 0 0 no_jumper_check
flabel comment s 1739 630 1739 630 0 FreeSans 300 0 0 0 no_jumper_check
flabel comment s 1181 289 1181 289 0 FreeSans 200 180 0 0 no_jumper_check
flabel comment s 1363 310 1363 310 0 FreeSans 200 180 0 0 no_jumper_check
flabel metal1 s 2527 316 2561 350 0 FreeSans 340 0 0 0 RESET_B
port 3 nsew signal input
flabel metal1 s 0 617 3264 666 0 FreeSans 340 0 0 0 VPWR
port 9 nsew power bidirectional
flabel metal1 s 0 0 3264 49 0 FreeSans 340 0 0 0 VGND
port 6 nsew ground bidirectional
flabel locali s 991 242 1025 276 0 FreeSans 340 0 0 0 CLK
port 1 nsew clock input
flabel locali s 415 316 449 350 0 FreeSans 340 0 0 0 SCD
port 4 nsew signal input
flabel locali s 127 316 161 350 0 FreeSans 340 0 0 0 D
port 2 nsew signal input
flabel locali s 3199 94 3233 128 0 FreeSans 340 0 0 0 Q
port 10 nsew signal output
flabel locali s 3199 168 3233 202 0 FreeSans 340 0 0 0 Q
port 10 nsew signal output
flabel locali s 3199 242 3233 276 0 FreeSans 340 0 0 0 Q
port 10 nsew signal output
flabel locali s 3199 316 3233 350 0 FreeSans 340 0 0 0 Q
port 10 nsew signal output
flabel locali s 3199 390 3233 424 0 FreeSans 340 0 0 0 Q
port 10 nsew signal output
flabel locali s 3199 464 3233 498 0 FreeSans 340 0 0 0 Q
port 10 nsew signal output
flabel locali s 3199 538 3233 572 0 FreeSans 340 0 0 0 Q
port 10 nsew signal output
flabel locali s 223 316 257 350 0 FreeSans 340 0 0 0 SCE
port 5 nsew signal input
<< properties >>
string LEFsite unit
string LEFclass CORE
string FIXED_BBOX 0 0 3264 666
string GDS_FILE $PDKPATH/libs.ref/sky130_fd_sc_lp/gds/sky130_fd_sc_lp.gds
string LEFsymmetry R90
string GDS_END 3310868
string GDS_START 3289480
<< end >>
